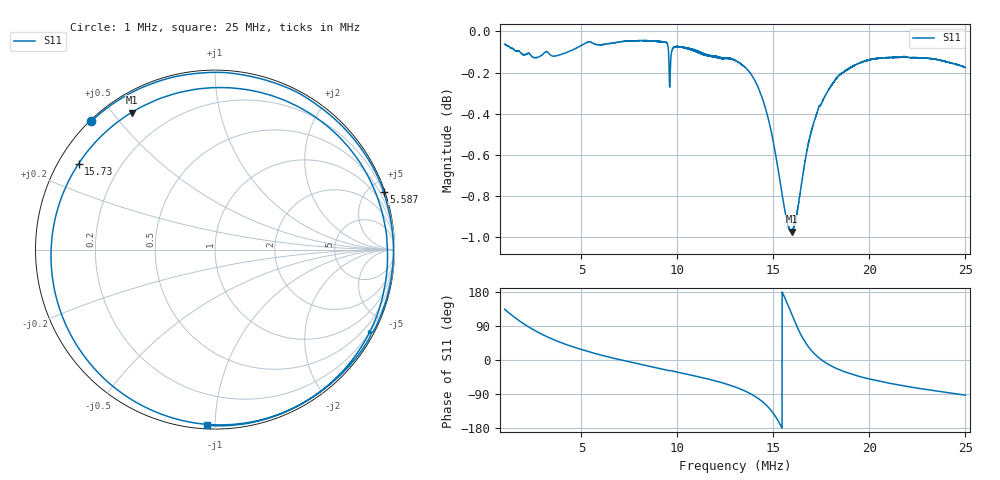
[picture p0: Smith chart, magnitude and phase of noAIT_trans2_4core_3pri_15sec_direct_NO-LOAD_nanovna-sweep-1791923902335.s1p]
! NanoVNA Web complex sweep
! Processing: unaveraged complex samples; linear segment spacing; no smoothing
# Hz S RI R 50
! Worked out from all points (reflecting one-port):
!   5050 points, 1 MHz to 25 MHz, reference 50 ohm
!   lowest |S11| = -1.0 dB at 15.95 MHz (marker M1), VSWR 17.87, Z = 3.68 + j28 ohm
!   phase of S11 starts at 134 deg and turns -587 deg over the sweep
!   S11 on the Smith chart (normalised r, x): 1 MHz: 0.00, +0.42; 5.587 MHz: 0.12, +5.98; 15.73 MHz: 0.06, +0.29; 25 MHz: 0.02, -0.95
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1000000  -0.6893 0.7147
1603631  -0.3284 0.933
2207262  0.0237 0.9875
3096073  0.4305 0.8897
4003896  0.7025 0.6941
5586645  0.9394 0.3233
7003039  0.9941 0.0129
1.000218e7  0.8396 -0.5277
1.173227e7  0.6065 -0.7776
1.300132e7  0.3189 -0.9308
1.404223e7  -0.0995 -0.9676
1.469815e7  -0.5151 -0.8026
1.50261e7  -0.7494 -0.5647
1.533505e7  -0.9021 -0.1814
1.553943e7  -0.8951 0.1512
1.57343e7  -0.7599 0.4788
1.594818e7  -0.465 0.7636
1.600047e7  -0.3756 0.8116
1.618584e7  -0.0426 0.8997
1.638546e7  0.2942 0.8644
1.668965e7  0.6665 0.6525
1.702712e7  0.8775 0.3582
1.73931e7  0.956 0.0775
1.789216e7  0.9455 -0.2081
1.899961e7  0.7909 -0.5787
2.028767e7  0.5857 -0.7917
2.199875e7  0.3354 -0.9268
2.49979e7  -0.046 -0.979
